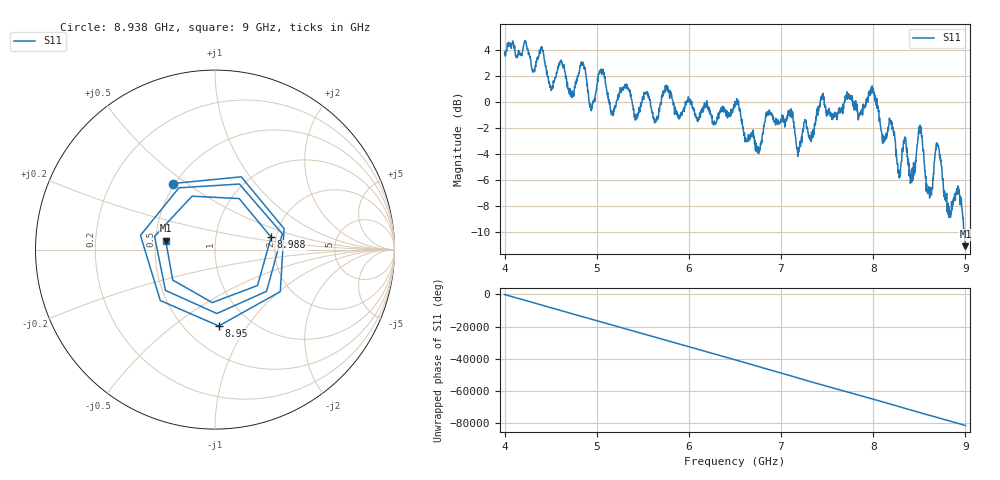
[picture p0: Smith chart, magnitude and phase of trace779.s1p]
! Created with skrf 1.8.0 (http://scikit-rf.org).
# Hz S RI R 50.0
!freq ReS11 ImS11
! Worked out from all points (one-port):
!   1601 points, 4 GHz to 9 GHz, reference 50 ohm
!   lowest |S11| = -11.1 dB at 9 GHz (marker M1), VSWR 1.77, Z = 28.3 + j3.06 ohm
!   |S11| at or under -10 dB: 8.983452 GHz to 8.985157 GHz (1.705 MHz wide, 0.019 % of centre); 8.989198 GHz to end of sweep
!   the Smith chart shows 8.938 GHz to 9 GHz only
!   S11 on the Smith chart (normalised r, x): 8.938 GHz: 0.49, +0.44; 8.95 GHz: 0.72, -0.75; 8.988 GHz: 1.88, +0.29; 9 GHz: 0.57, +0.06
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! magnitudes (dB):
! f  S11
! 4 GHz  3.7
! 4.625 GHz  2.9
! 4.728 GHz  0.8
! 4.85 GHz  3.0
! 4.941 GHz  -0.7
! 5.044 GHz  2.4
! 5.162 GHz  -0.7
! 5.25 GHz  0.8
! 5.875 GHz  -0.9
! 6.5 GHz  0.0
! 6.747 GHz  -3.4
! 6.856 GHz  -1.0
! 7.125 GHz  -0.8
! 7.191 GHz  -3.9
! 7.441 GHz  0.2
! 7.75 GHz  0.5
! 7.994 GHz  0.7
! 8.278 GHz  -5.2
! 8.375 GHz  -4.8
! 8.428 GHz  -6.0
! 8.509 GHz  -1.8
! 8.6 GHz  -6.8
! 8.697 GHz  -3.2
! 8.822 GHz  -8.9
! 8.938 GHz  -7.2
! 8.95 GHz  -7.4
! 8.988 GHz  -9.9
! 9 GHz  -11.1
